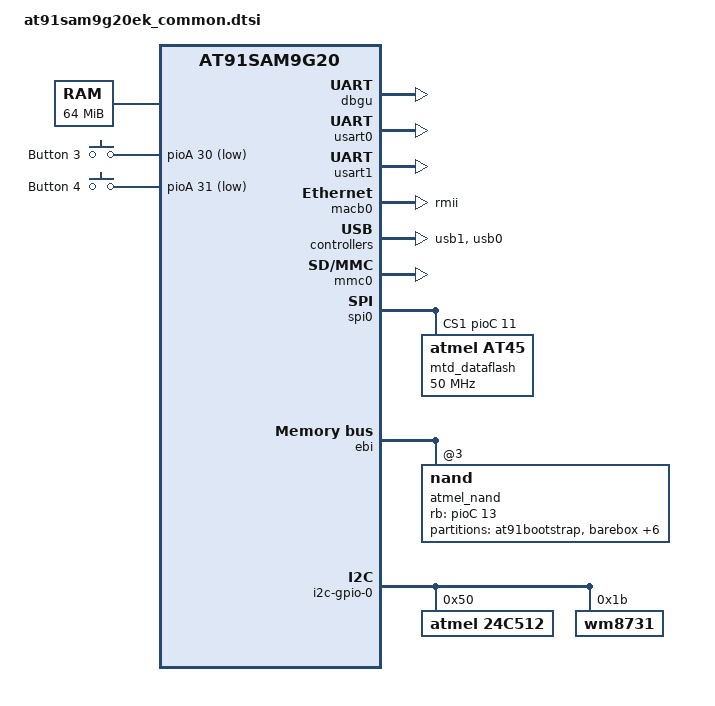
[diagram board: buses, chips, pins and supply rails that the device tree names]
// SPDX-License-Identifier: GPL-2.0-only
/*
 * at91sam9g20ek_common.dtsi - Device Tree file for Atmel at91sam9g20ek board
 *
 * Copyright (C) 2012 Jean-Christophe PLAGNIOL-VILLARD <plagnioj@jcrosoft.com>
 */
#include "at91sam9g20.dtsi"

/ {

	chosen {
		bootargs = "mem=64M root=/dev/mtdblock5 rw rootfstype=ubifs";
		stdout-path = "serial0:115200n8";
	};

	memory {
		reg = <0x20000000 0x4000000>;
	};

	clocks {
		slow_xtal {
			clock-frequency = <32768>;
		};

		main_xtal {
			clock-frequency = <18432000>;
		};
	};

	ahb {
		apb {
			pinctrl@fffff400 {
				board {
					pinctrl_pck0_as_mck: pck0_as_mck {
						atmel,pins =
							<AT91_PIOC 1 AT91_PERIPH_B AT91_PINCTRL_NONE>;	/* PC1 periph B */
					};

				};

				mmc0_slot1 {
					pinctrl_board_mmc0_slot1: mmc0_slot1-board {
						atmel,pins =
							<AT91_PIOC 9 AT91_PERIPH_GPIO AT91_PINCTRL_PULL_UP_DEGLITCH>;	/* PC9 gpio CD pin pull up and deglitch */
					};
				};
			};

			dbgu: serial@fffff200 {
				status = "okay";
			};

			tcb0: timer@fffa0000 {
				timer@0 {
					compatible = "atmel,tcb-timer";
					reg = <0>, <1>;
				};

				timer@2 {
					compatible = "atmel,tcb-timer";
					reg = <2>;
				};
			};

			usart0: serial@fffb0000 {
				pinctrl-0 =
					<&pinctrl_usart0
					 &pinctrl_usart0_rts
					 &pinctrl_usart0_cts
					 &pinctrl_usart0_dtr_dsr
					 &pinctrl_usart0_dcd
					 &pinctrl_usart0_ri>;
				status = "okay";
			};

			usart1: serial@fffb4000 {
				status = "okay";
			};

			macb0: ethernet@fffc4000 {
				phy-mode = "rmii";
				status = "okay";
			};

			usb1: gadget@fffa4000 {
				atmel,vbus-gpio = <&pioC 5 GPIO_ACTIVE_HIGH>;
				status = "okay";
			};

			mmc0: mmc@fffa8000 {
				pinctrl-0 = <
					&pinctrl_board_mmc0_slot1
					&pinctrl_mmc0_clk
					&pinctrl_mmc0_slot1_cmd_dat0
					&pinctrl_mmc0_slot1_dat1_3>;
				status = "okay";
				slot@1 {
					reg = <1>;
					bus-width = <4>;
					cd-gpios = <&pioC 9 GPIO_ACTIVE_HIGH>;
				};
			};

			ssc0: ssc@fffbc000 {
				status = "okay";
				pinctrl-0 = <&pinctrl_ssc0_tx>;
			};

			spi0: spi@fffc8000 {
				cs-gpios = <0>, <&pioC 11 0>, <0>, <0>;
				mtd_dataflash@1 {
					compatible = "atmel,at45", "atmel,dataflash";
					spi-max-frequency = <50000000>;
					reg = <1>;
				};
			};

			shdwc@fffffd10 {
				atmel,wakeup-counter = <10>;
				atmel,wakeup-rtt-timer;
			};

			rtc@fffffd20 {
				atmel,rtt-rtc-time-reg = <&gpbr 0x0>;
				status = "okay";
			};

			watchdog@fffffd40 {
				status = "okay";
			};

			gpbr: syscon@fffffd50 {
				status = "okay";
			};
		};

		ebi: ebi@10000000 {
			status = "okay";

			nand_controller: nand-controller {
				status = "okay";
				pinctrl-0 = <&pinctrl_nand_cs &pinctrl_nand_rb>;
				pinctrl-names = "default";

				nand@3 {
					reg = <0x3 0x0 0x800000>;
					rb-gpios = <&pioC 13 GPIO_ACTIVE_HIGH>;
					cs-gpios = <&pioC 14 GPIO_ACTIVE_HIGH>;
					nand-bus-width = <8>;
					nand-ecc-mode = "soft";
					nand-on-flash-bbt;
					label = "atmel_nand";

					partitions {
						compatible = "fixed-partitions";
						#address-cells = <1>;
						#size-cells = <1>;

						at91bootstrap@0 {
							label = "at91bootstrap";
							reg = <0x0 0x20000>;
						};

						barebox@20000 {
							label = "barebox";
							reg = <0x20000 0x40000>;
						};

						bareboxenv@60000 {
							label = "bareboxenv";
							reg = <0x60000 0x20000>;
						};

						bareboxenv2@80000 {
							label = "bareboxenv2";
							reg = <0x80000 0x20000>;
						};

						oftree@80000 {
							label = "oftree";
							reg = <0xa0000 0x20000>;
						};

						kernel@a0000 {
							label = "kernel";
							reg = <0xc0000 0x400000>;
						};

						rootfs@4a0000 {
							label = "rootfs";
							reg = <0x4c0000 0x7800000>;
						};

						data@7ca0000 {
							label = "data";
							reg = <0x7cc0000 0x8340000>;
						};
					};
				};
			};
		};

		usb0: ohci@500000 {
			num-ports = <2>;
			status = "okay";
		};
	};

	i2c-gpio-0 {
		status = "okay";

		24c512@50 {
			compatible = "atmel,24c512";
			reg = <0x50>;
		};

		wm8731: wm8731@1b {
			compatible = "wm8731";
			reg = <0x1b>;
		};
	};

	gpio_keys {
		compatible = "gpio-keys";

		btn3 {
			label = "Button 3";
			gpios = <&pioA 30 GPIO_ACTIVE_LOW>;
			linux,code = <0x103>;
			wakeup-source;
		};

		btn4 {
			label = "Button 4";
			gpios = <&pioA 31 GPIO_ACTIVE_LOW>;
			linux,code = <0x104>;
			wakeup-source;
		};
	};

	sound {
		compatible = "atmel,at91sam9g20ek-wm8731-audio";
		pinctrl-names = "default";
		pinctrl-0 = <&pinctrl_pck0_as_mck>;

		atmel,model = "wm8731 @ AT91SAMG20EK";

		atmel,audio-routing =
			"Ext Spk", "LHPOUT",
			"Int Mic", "MICIN";

		atmel,ssc-controller = <&ssc0>;
		atmel,audio-codec = <&wm8731>;
	};
};
